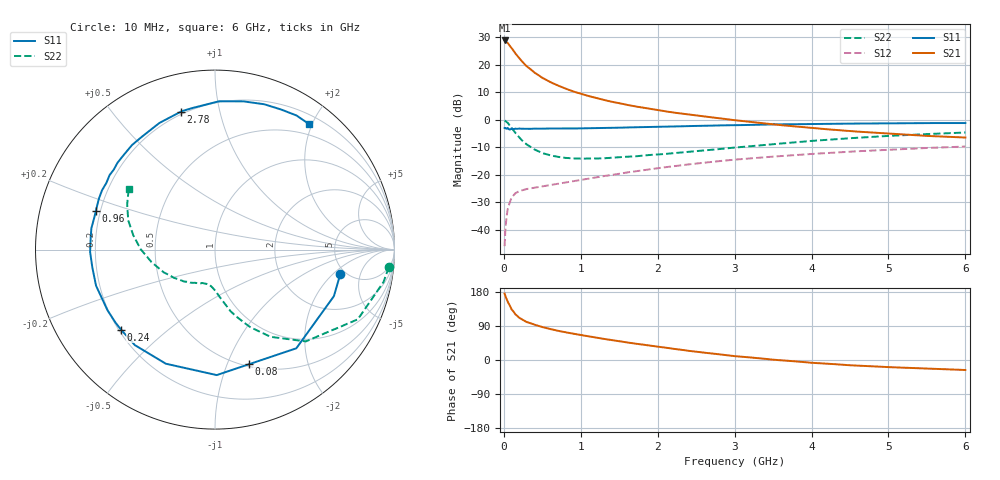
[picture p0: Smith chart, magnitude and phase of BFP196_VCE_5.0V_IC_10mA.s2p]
! Infineon Technologies  Discrete & RF Semiconductors
! BFP196
! VCE = 5.0 V,  IC =  10mA
! Common Emitter S-Parameters:  Jan 2016
# GHz  S  MA  R  50
!  f  S11  S21  S12  S22
! GHz  MAG  ANG  MAG  ANG  MAG  ANG  MAG  ANG
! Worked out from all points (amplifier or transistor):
!   210 points, 10 MHz to 6 GHz, reference 50 ohm
!   highest |S21| = 28.9 dB at 10 MHz (marker M1)
!   |S21| within 3 dB of that: start of sweep to 107.9 MHz
!   unconditionally stable (mu >= 1): 885.5 MHz to 3.401 GHz
!   at 185 MHz: K = 0.30, MSG = 24.6 dB, |S12| = -26.2 dB
!   at 1.52 GHz: K = 1.15, MAG = 10.4 dB, |S12| = -19.6 dB
!   at 6 GHz: K = 0.96, MSG = 1.6 dB, |S12| = -9.7 dB
!   S11 on the Smith chart (normalised r, x): 10 MHz: 4.51, -2.48; 80 MHz: 0.52, -1.20; 240 MHz: 0.21, -0.35; 960 MHz: 0.18, +0.15; 2.78 GHz: 0.19, +0.77; 6 GHz: 0.33, +1.96
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0.01  0.7115 -11.0  27.92 175.1  0.005 84.0  0.9734 -5.8
0.02  0.7114 -21.4  27.08 168.5  0.0099 79.9  0.9561 -10.9
0.05  0.7125 -50.5  25.17 153.5  0.0235 66.2  0.8855 -26.0
0.08  0.6662 -73.7  22.05 142.7  0.0321 55.6  0.7749 -36.6
0.1  0.6992 -89.2  20.51 133.8  0.0382 51.3  0.7196 -45.3
0.15  0.6923 -113.3  16.19 120.4  0.0461 42.6  0.5771 -57.4
0.2  0.6947 -130.0  13.25 111.4  0.0502 37.5  0.4769 -65.4
0.24  0.6878 -139.6  11.42 106.3  0.0522 35.2  0.4169 -70.0
0.26  0.6876 -143.7  10.66 103.9  0.0532 34.5  0.3926 -72.2
0.3  0.6877 -150.6  9.376 100.0  0.0551 33.6  0.3545 -75.8
0.4  0.6926 -163.1  7.232 92.8  0.0581 32.9  0.2877 -81.7
0.5  0.6906 -171.7  5.824 86.9  0.0614 33.4  0.2481 -86.5
0.7  0.6958 175.1  4.23 77.1  0.0682 36.7  0.212 -93.8
0.96  0.6978 162.2  3.107 67.4  0.0788 40.0  0.1971 -101.1
1.02  0.7011 159.4  2.929 65.2  0.0813 40.6  0.1965 -102.8
1.4  0.7192 144.8  2.137 52.7  0.0988 43.1  0.2042 -113.0
2.02  0.7469 124.9  1.49 34.7  0.1327 42.9  0.2346 -130.1
2.78  0.7916 103.9  1.078 15.5  0.1759 37.9  0.2915 -150.7
3.1  0.8027 96.6  0.952 8.6  0.1932 34.7  0.3208 -159.0
4.1  0.8425 77.5  0.693 -8.5  0.2437 24.3  0.4223 177.7
5.1  0.8646 63.5  0.552 -19.5  0.2896 13.2  0.5171 159.6
6  0.8739 53.0  0.476 -26.4  0.3264 2.4  0.5881 144.8
